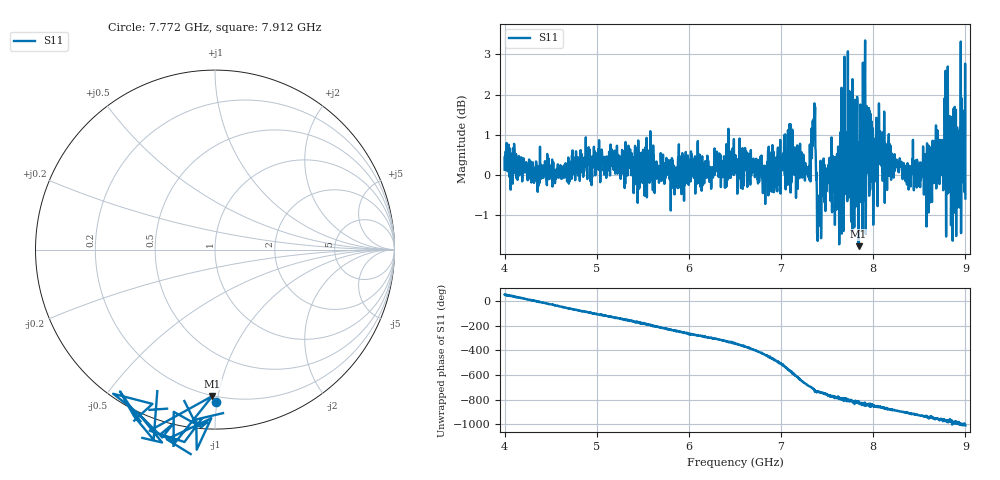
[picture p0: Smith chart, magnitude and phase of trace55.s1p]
! Created with skrf 1.8.0 (http://scikit-rf.org).
# Hz S RI R 50.0
!freq ReS11 ImS11
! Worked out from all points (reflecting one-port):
!   1601 points, 4 GHz to 9 GHz, reference 50 ohm
!   lowest |S11| = -1.8 dB at 7.841 GHz (marker M1), VSWR 9.85, Z = 9.88 - j48.2 ohm
!   phase of S11 starts at 51 deg and turns -1059 deg over the sweep
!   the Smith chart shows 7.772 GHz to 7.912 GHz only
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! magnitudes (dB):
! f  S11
! 4 GHz  0.1
! 4.625 GHz  -0.1
! 5.25 GHz  0.4
! 5.875 GHz  -0.1
! 6.5 GHz  0.1
! 6.816 GHz  0.2
! 7.125 GHz  0.3
! 7.284 GHz  0.1
! 7.35 GHz  1.0
! 7.412 GHz  -0.8
! 7.509 GHz  -0.1
! 7.609 GHz  0.5
! 7.662 GHz  0.9
! 7.75 GHz  0.3
! 7.769 GHz  -0.4
! 7.8 GHz  -0.3
! 7.841 GHz  -1.8
! 7.928 GHz  1.7
! 7.941 GHz  1.1
! 8.022 GHz  0.0
! 8.097 GHz  0.1
! 8.375 GHz  0.0
! 8.616 GHz  0.2
! 8.766 GHz  0.6
! 8.8 GHz  1.1
! 8.856 GHz  0.0
! 8.972 GHz  0.6
! 9 GHz  -0.6
